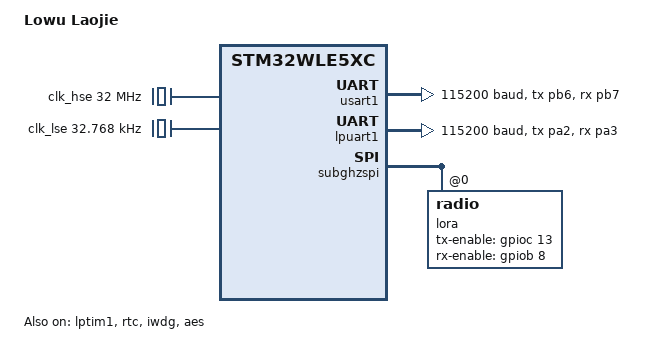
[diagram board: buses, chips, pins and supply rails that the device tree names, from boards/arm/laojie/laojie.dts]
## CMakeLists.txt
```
cmake_minimum_required(VERSION 3.20.0)

list(APPEND ZEPHYR_EXTRA_MODULES
        ${CMAKE_CURRENT_SOURCE_DIR}/lowu_radio
)

set(BOARD_ROOT ${CMAKE_CURRENT_LIST_DIR})

# This sample is only compatible with nrf52840dk_nrf52840 because it has
# re-directed the 'boards' directory to a directory that only contains
# this board.
set(BOARD laojie)

find_package(Zephyr REQUIRED HINTS $ENV{ZEPHYR_BASE})
project(lowu)

FILE(GLOB app_sources src/*.cpp src/*.hpp)
target_sources(app PRIVATE ${app_sources})
```

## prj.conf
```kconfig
CONFIG_LOG=y
CONFIG_SHELL=n
CONFIG_CPLUSPLUS=y
CONFIG_LIB_CPLUSPLUS=y
```

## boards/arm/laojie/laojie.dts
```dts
/*
* Copyright (C) 2022 Jackson Ming Hu <huming2207@gmail.com>
*
* SPDX-License-Identifier: Apache-2.0
*/

/dts-v1/;

#include <st/wl/stm32wle5Xc.dtsi>
#include <st/wl/stm32wle5ccux-pinctrl.dtsi>

/ {
    model = "Lowu Laojie";
    compatible = "lowu,laojie";

    aliases {
		lora0 = &lora;
        radiospi = &subghzspi;
	};

    chosen {
        zephyr,console = &usart1;
        // zephyr,shell-uart = &usart1;
        zephyr,sram = &sram0;
        zephyr,flash = &flash0;
        zephyr,code-partition = &flash0;
    };

	power-states {
		stop0: state0 {
			compatible = "zephyr,power-state";
			power-state-name = "suspend-to-idle";
			substate-id = <1>;
			min-residency-us = <100>;
		};
		stop1: state1 {
			compatible = "zephyr,power-state";
			power-state-name = "suspend-to-idle";
			substate-id = <2>;
			min-residency-us = <500>;
		};
		stop2: state2 {
			compatible = "zephyr,power-state";
			power-state-name = "suspend-to-idle";
			substate-id = <3>;
			min-residency-us = <900>;
		};
	};
};

&cpu0 {
	cpu-power-states = <&stop0 &stop1 &stop2>;
};

&lptim1 {
	status = "okay";
};

&clk_msi {
	status = "okay";
	msi-range = <11>;
};

&rcc {
	clocks = <&clk_msi>;
	clock-frequency = <DT_FREQ_M(48)>;
	cpu1-prescaler = <1>;
	ahb3-prescaler = <1>;
	apb1-prescaler = <1>;
	apb2-prescaler = <1>;
};

&rtc {
	status = "okay";
};

&iwdg {
	status = "okay";
};

&aes {
	status = "okay";
};

&clk_hse {
	clock-frequency = <DT_FREQ_M(32)>;
	hse-tcxo;
};

&clk_lse {
	clock-frequency = <32768>;
};

&usart1 {
	pinctrl-0 = <&usart1_tx_pb6 &usart1_rx_pb7>;
	pinctrl-names = "default";
	current-speed = <115200>;
	status = "okay";
};

&lpuart1 {
	pinctrl-0 = <&lpuart1_tx_pa2 &lpuart1_rx_pa3>;
	pinctrl-names = "default";
	current-speed = <115200>;
	status = "okay";
};

&subghzspi {
	status = "okay";
	lora: radio@0 {
		status = "okay";
		tx-enable-gpios = <&gpioc 13 GPIO_ACTIVE_HIGH>;
		rx-enable-gpios = <&gpiob 8 GPIO_ACTIVE_HIGH>;
		dio3-tcxo-voltage = <SX126X_DIO3_TCXO_1V7>;
		tcxo-power-startup-delay-ms = <5>;
	};
};

&flash0 {
	partitions {
		compatible = "fixed-partitions";
		#address-cells = <1>;
		#size-cells = <1>;

		/* 16KB (8x2kB pages) of storage at the end of the flash */
		storage_partition: partition@3c000 {
			label = "storage";
			reg = <0x0003c000 DT_SIZE_K(16)>;
		};
	};
};
```

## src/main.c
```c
#include <logging/log.h>
#include <zephyr.h>

LOG_MODULE_REGISTER(main);

void main(void)
{
	LOG_INF("SYSTEM READY");
    LOG_INF("Lay hou");
}
```

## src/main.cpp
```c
#include <zephyr/device.h>
#include <zephyr/drivers/lora.h>
#include <zephyr/drivers/spi.h>
#include <errno.h>
#include <zephyr/sys/util.h>
#include <zephyr/zephyr.h>

#define MAX_DATA_LEN 255

#define LOG_LEVEL CONFIG_LOG_DEFAULT_LEVEL
#include <zephyr/logging/log.h>
LOG_MODULE_REGISTER(lowu);

extern "C" int main(void)
{
    LOG_INF("Lay hou");
    k_sleep(K_FOREVER);

    return 0;
}
```
